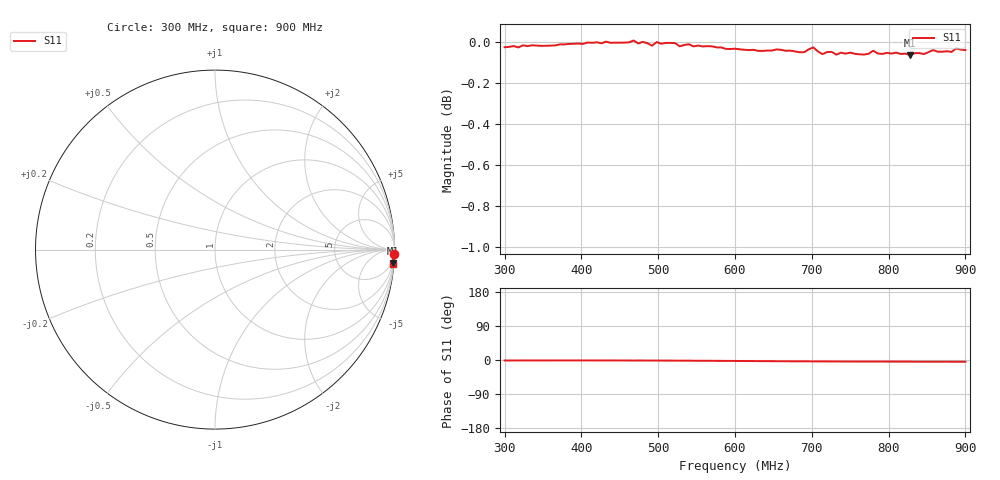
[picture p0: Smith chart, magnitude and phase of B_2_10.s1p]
# HZ S RI R 50
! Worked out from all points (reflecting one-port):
!   101 points, 300 MHz to 900 MHz, reference 50 ohm
!   lowest |S11| = -0.1 dB at 828 MHz (marker M1), VSWR 266.73, Z = 131 - j1.31e+03 ohm
!   phase of S11 starts at -1 deg and turns -3 deg over the sweep
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3e8  0.9967 -0.0224
3.3e8  0.9974 -0.0201
3.78e8  0.9983 -0.0198
4.5e8  0.9993 -0.0217
4.68e8  1 -0.0247
4.74e8  0.9988 -0.023
4.86e8  0.9989 -0.0239
4.92e8  0.9975 -0.025
4.98e8  0.9995 -0.0252
5.22e8  0.9988 -0.0293
5.28e8  0.997 -0.0302
5.4e8  0.9981 -0.032
6e8  0.9952 -0.0436
6.48e8  0.9935 -0.0558
6.78e8  0.9928 -0.0609
6.84e8  0.9924 -0.0593
7.02e8  0.9947 -0.0655
7.14e8  0.9909 -0.0656
7.5e8  0.9915 -0.0699
7.68e8  0.9903 -0.0712
7.8e8  0.9924 -0.0725
8.28e8  0.9897 -0.0746
8.52e8  0.9911 -0.0781
8.7e8  0.9914 -0.078
8.76e8  0.9918 -0.0758
8.82e8  0.9911 -0.0804
8.88e8  0.9929 -0.0816
9e8  0.992 -0.0813
